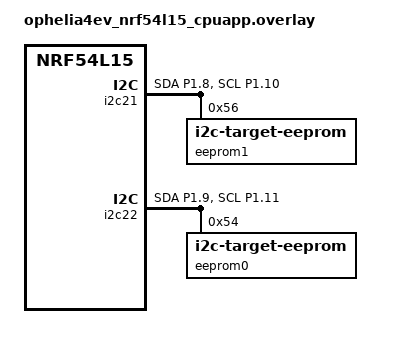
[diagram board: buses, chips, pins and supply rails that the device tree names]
/*
 * Copyright (c) 2025 Würth Elektronik eiSos GmbH & Co. KG
 *
 * SPDX-License-Identifier: Apache-2.0
 */

/*
 * SDA = P1.8 and P1.9
 * SCL = P1.10 and P1.11
 */

&pinctrl {
	i2c21_default: i2c21_default {
		group1 {
			psels = <NRF_PSEL(TWIS_SDA, 1, 8)>,
				<NRF_PSEL(TWIS_SCL, 1, 10)>;
			bias-pull-up;
		};
	};

	i2c21_sleep: i2c21_sleep {
		group1 {
			psels = <NRF_PSEL(TWIS_SDA, 1, 8)>,
				<NRF_PSEL(TWIS_SCL, 1, 10)>;
			low-power-enable;
		};
	};

	i2c22_default: i2c22_default {
		group1 {
			psels = <NRF_PSEL(TWIS_SDA, 1, 9)>,
				<NRF_PSEL(TWIS_SCL, 1, 11)>;
			bias-pull-up;
		};
	};

	i2c22_sleep: i2c22_sleep {
		group1 {
			psels = <NRF_PSEL(TWIS_SDA, 1, 9)>,
				<NRF_PSEL(TWIS_SCL, 1, 11)>;
			low-power-enable;
		};
	};
};

&i2c21 {
	pinctrl-0 = <&i2c21_default>;
	pinctrl-1 = <&i2c21_sleep>;
	pinctrl-names = "default", "sleep";
	zephyr,concat-buf-size = <256>;
	status = "okay";

	eeprom1: eeprom@56 {
		compatible = "zephyr,i2c-target-eeprom";
		reg = <0x56>;
		address-width = <8>;
		size = <256>;
	};
};

&i2c22 {
	compatible = "nordic,nrf-twis";
	pinctrl-0 = <&i2c22_default>;
	pinctrl-1 = <&i2c22_sleep>;
	pinctrl-names = "default", "sleep";
	status = "okay";

	eeprom0: eeprom@54 {
		compatible = "zephyr,i2c-target-eeprom";
		reg = <0x54>;
		address-width = <8>;
		size = <256>;
	};
};
